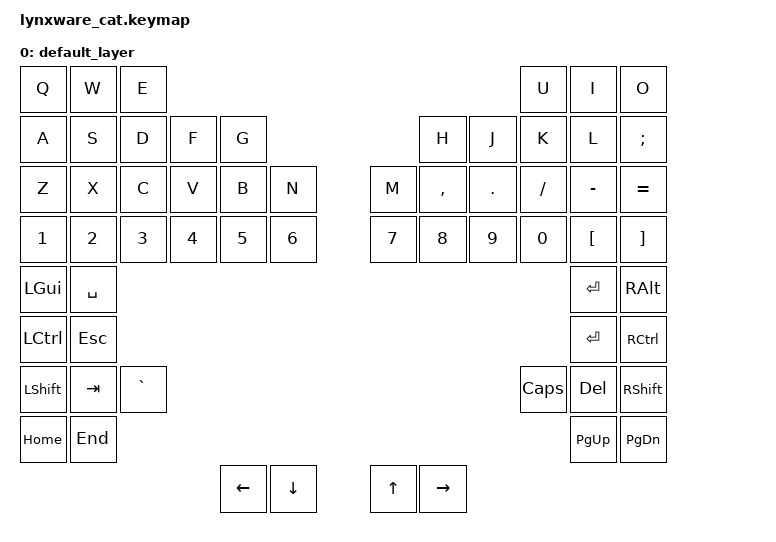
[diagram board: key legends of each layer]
#include <behaviors.dtsi>
#include <dt-bindings/zmk/keys.h>
#include <dt-bindings/zmk/bt.h>

#define DEFAULT 0
#define LOWER   1
#define RAISE   2
#define ADJUST  3

/ {
    keymap {
        compatible = "zmk,keymap";

        default_layer {
            bindings = <
                            &kp Q   &kp W   &kp E                              &kp U   &kp I   &kp O
                    &kp A   &kp S   &kp D   &kp F   &kp G              &kp H   &kp J   &kp K   &kp L   &kp SEMI
            &kp Z   &kp X   &kp C   &kp V   &kp B   &kp N              &kp M   &kp COMMA  &kp DOT  &kp FSLH  &kp MINUS  &kp EQUAL
            &kp N1  &kp N2  &kp N3  &kp N4  &kp N5  &kp N6             &kp N7  &kp N8  &kp N9  &kp N0  &kp LEFT_BRACKET  &kp RIGHT_BRACKET

                                    &kp LGUI   &kp SPACE                      &kp RET    &kp RALT
                                         &kp LCTRL  &kp ESC                &kp ENTER  &kp RCTRL
                                    &kp LSHFT  &kp TAB   &kp GRAVE     &kp CAPSLOCK  &kp DEL  &kp RSHFT
                                         &kp HOME   &kp END                &kp PG_UP   &kp PG_DN
                                    &kp LEFT   &kp DOWN                      &kp UP     &kp RIGHT
            >;
        };
    };
};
